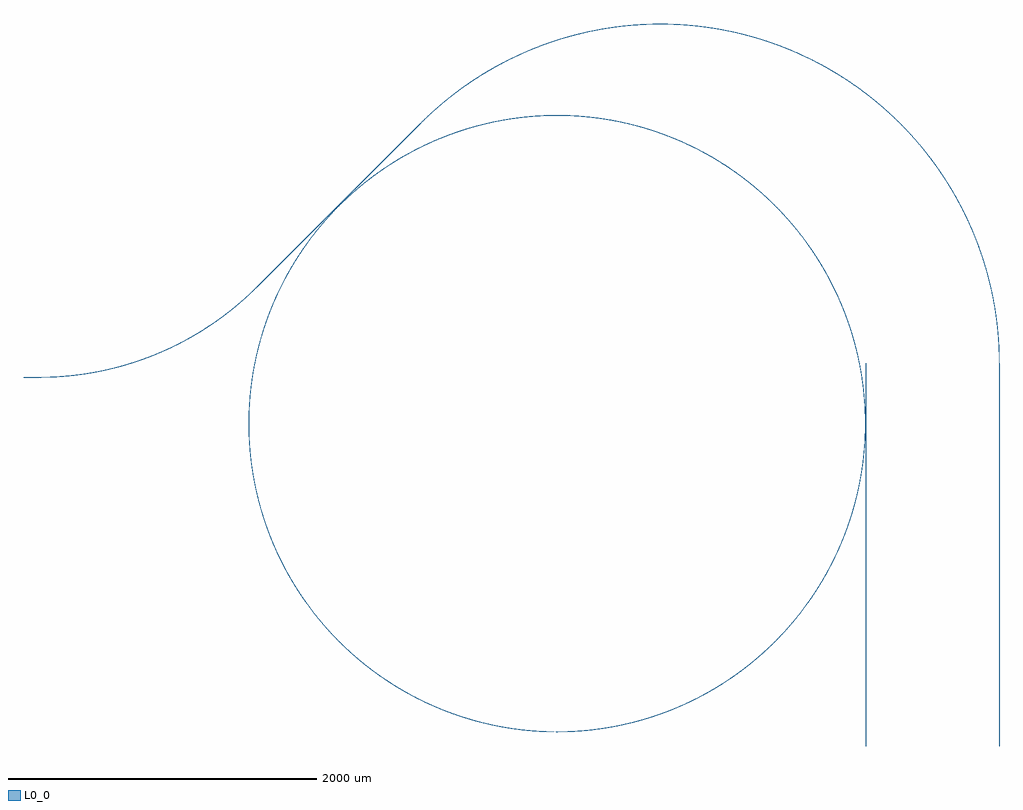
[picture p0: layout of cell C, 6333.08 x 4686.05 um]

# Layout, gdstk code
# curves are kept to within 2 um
import gdstk
lib = gdstk.Library(unit=1e-6, precision=1e-09)
def R(c, l, rs):  # rectangles x0, y0, x1, y1
    for r in rs: c.add(gdstk.rectangle(r[:2], r[2:], *l))
def P(c, l, *ps):  # polygons
    for p in ps: c.add(gdstk.Polygon(p, *l))
L0_0 = (0, 0)

c_c = lib.new_cell('C')
R(c_c, L0_0, [(2003.049,-2092.442,2005.149,392.558), (2868.577,-2092.442,2870.677,392.558), (-3462.4,299.171,-3362.4,301.271)])
P(c_c, L0_0, [(-652.603,2152.196),(-693.145,2120.989),(-735.702,2086.568),(-770.043,2057.481),(-770.043,2054.703),(-739.6,2080.592),(-710.977,2104.082),(-682.722,2126.493),(-652.603,2149.569)],
  [(-770.043,2057.481),(-801.034,2030.17),(-830.602,2003.127),(-860.466,1974.783),(-887.492,1948.192),(-886.012,1946.711),(-857.443,1974.783),(-830.002,2000.815),(-800.347,2027.965),(-770.043,2054.703)],
  [(-417.713,2306.275),(-462.874,2279.901),(-506.357,2253.117),(-535.163,2234.595),(-535.163,2232.085),(-506.646,2250.45),(-477.328,2268.691),(-448.591,2285.96),(-417.713,2303.859)],
  [(-535.163,2234.595),(-579.527,2204.804),(-621.878,2174.87),(-652.603,2152.196),(-652.603,2149.569),(-622.826,2171.587),(-593.581,2192.471),(-564.817,2212.318),(-535.163,2232.085)],
  [(52.057,2505.196),(18.059,2494.959),(-14.829,2484.482),(-49.317,2472.881),(-82.623,2461.071),(-126.314,2444.655),(-172.374,2426.19),(-182.833,2421.827),(-182.833,2419.55),(-132.623,2439.941),(-82.195,2458.992),(-48.363,2470.989),(-15.938,2481.909),(17.657,2492.635),(52.057,2503.008)],
  [(-182.833,2421.827),(-217.574,2406.881),(-251.202,2391.732),(-285.973,2375.347),(-318.259,2359.46),(-360.866,2337.476),(-403.039,2314.539),(-417.713,2306.275),(-417.713,2303.859),(-367.781,2331.415),(-317.234,2357.625),(-284.684,2373.636),(-249.615,2390.151),(-215.682,2405.419),(-182.833,2419.55)],
  [(521.827,2588.71),(486.134,2585.987),(452.908,2582.94),(419.303,2579.347),(383.845,2574.991),(335.475,2568.106),(289.825,2560.6),(286.937,2560.091),(286.937,2557.959),(334.642,2565.852),(382.649,2572.7),(416.607,2576.902),(451.168,2580.628),(486.343,2583.855),(521.827,2586.534)],
  [(286.937,2560.091),(253.666,2553.952),(217.378,2546.65),(185.279,2539.66),(150.866,2531.605),(103.437,2519.542),(56.43,2506.469),(52.057,2505.196),(52.057,2503.008),(100.641,2516.622),(151.734,2529.655),(187.323,2537.967),(220.612,2545.181),(255.076,2552.084),(286.937,2557.959)],
  [(991.597,2569.943),(931.21,2578.027),(874.465,2584.087),(815.369,2588.851),(756.707,2592.019),(756.707,2589.782),(805.039,2587.334),(852.911,2583.855),(888.086,2580.628),(922.647,2576.902),(956.605,2572.7),(991.597,2567.807)],
  [(756.707,2592.019),(744.404,2592.557),(695.27,2593.457),(639.267,2593.396),(639.267,2591.297),(697.394,2591.332),(756.707,2589.782)],
  [(639.267,2593.396),(594.85,2592.557),(545.113,2590.198),(521.827,2588.71),(521.827,2586.534),(579.096,2589.643),(639.267,2591.297)],
  [(2853.784,664.733),(2848.839,701.844),(2842.75,742.07),(2836.05,781.441),(2828.779,819.974),(2818.751,867.832),(2807.119,917.676),(2802.303,936.903),(2800.136,936.903),(2807.355,907.824),(2814.343,877.918),(2821.004,847.482),(2827.322,816.505),(2834.551,777.897),(2840.623,742.07),(2846.19,705.537),(2851.668,664.733)],
  [(2870.677,392.557),(2870.342,430.91),(2869.29,470.68),(2867.664,507.688),(2865.178,548.052),(2861.305,595.459),(2856.086,645.577),(2853.784,664.733),(2851.668,664.733),(2855.268,634.124),(2858.46,603.253),(2863.352,544.051),(2865.771,503.608),(2867.333,466.527),(2868.243,430.91),(2868.577,392.557)],
  [(2802.303,936.903),(2792.053,975.591),(2781.396,1013.085),(2769.342,1052.722),(2756.8,1091.364),(2740.747,1137.596),(2723.016,1185.157),(2713.623,1209.073),(2711.362,1209.073),(2722.887,1179.643),(2734.399,1148.929),(2745.626,1117.547),(2755.567,1088.426),(2768.087,1049.708),(2779.207,1013.085),(2789.875,975.591),(2800.136,936.903)],
  [(2653.855,1345.163),(2631.049,1391.279),(2605.686,1439.6),(2582.573,1481.253),(2580.156,1481.253),(2598.408,1448.581),(2616.661,1414.536),(2634.663,1379.479),(2651.526,1345.163)],
  [(2713.623,1209.073),(2693.598,1257.521),(2672.094,1306.203),(2653.855,1345.163),(2651.526,1345.163),(2667.485,1311.222),(2682.324,1278.239),(2696.874,1244.407),(2711.362,1209.073)],
  [(1389.343,2472.614),(1338.709,2489.45),(1289.846,2504.419),(1240.136,2518.388),(1190.473,2531.098),(1190.473,2528.936),(1240.84,2516.024),(1289.538,2502.321),(1339.492,2486.996),(1389.343,2470.392)],
  [(1190.473,2531.098),(1143.025,2542.101),(1091.955,2552.717),(1043.73,2561.591),(991.597,2569.943),(991.597,2567.807),(1040.043,2560.092),(1090.867,2550.789),(1140.587,2540.486),(1190.473,2528.936)],
  [(1787.083,2288.847),(1738.399,2316.706),(1688.868,2343.396),(1639.459,2368.424),(1588.213,2392.763),(1588.213,2390.452),(1638.289,2366.659),(1689.963,2340.453),(1737.977,2314.539),(1787.083,2286.409)],
  [(1588.213,2392.763),(1540.436,2414.022),(1489.833,2435.077),(1439.075,2454.735),(1389.343,2472.614),(1389.343,2470.392),(1441.853,2451.454),(1490.397,2432.588),(1538.39,2412.616),(1588.213,2390.452)],
  [(2452.602,1683.147),(2429.893,1713.952),(2406.672,1744.333),(2383.423,1773.688),(2360.191,1802.031),(2329.28,1838.301),(2295.928,1875.718),(2287.37,1885.047),(2284.512,1885.047),(2323.918,1841.247),(2360.04,1798.931),(2383.313,1770.477),(2406.595,1741.01),(2428.558,1712.232),(2450.008,1683.147)],
  [(2521.485,1582.197),(2494.137,1623.729),(2465.941,1664.515),(2452.602,1683.147),(2450.008,1683.147),(2467.226,1659.056),(2485.199,1633.153),(2501.83,1608.457),(2518.988,1582.197)],
  [(2582.573,1481.253),(2557.46,1524.241),(2531.026,1567.213),(2521.485,1582.197),(2518.988,1582.197),(2549.991,1532.562),(2580.156,1481.253)],
  [(2037.23,2117.169),(2006.81,2140.86),(1974.719,2164.945),(1943.174,2187.745),(1912.16,2209.35),(1912.16,2206.804),(1944.026,2184.564),(1975.738,2161.584),(2007.991,2137.311),(2037.23,2114.487)],
  [(1912.16,2209.35),(1881.772,2229.764),(1849.821,2250.45),(1818.538,2269.956),(1787.083,2288.847),(1787.083,2286.409),(1818.657,2267.421),(1850.136,2247.761),(1882.278,2226.913),(1912.16,2206.804)],
  [(2287.37,1885.047),(2257.689,1916.591),(2227.333,1947.605),(2194.723,1979.6),(2162.3,2010.131),(2162.3,2007.273),(2194.193,1977.196),(2224.364,1947.605),(2254.778,1916.591),(2284.512,1885.047)],
  [(2162.3,2010.131),(2132.945,2036.735),(2101.364,2064.308),(2070.186,2090.514),(2037.23,2117.169),(2037.23,2114.487),(2069.273,2088.545),(2100.554,2062.237),(2132.235,2034.555),(2162.3,2007.273)],
  [(-3008.477,332.844),(-3052.885,325.378),(-3096.4,319.048),(-3141.035,313.565),(-3185.437,309.119),(-3185.437,306.97),(-3127.902,312.936),(-3074.206,320.018),(-3042.459,324.902),(-3008.477,330.709)],
  [(-3185.437,309.119),(-3230.127,305.651),(-3274.462,303.205),(-3319.85,301.723),(-3362.402,301.271),(-3362.402,299.171),(-3331.365,299.412),(-3291.104,300.22),(-3251.078,302.151),(-3218.613,304.275),(-3185.437,306.97)],
  [(-2654.557,430.791),(-2698.993,414.564),(-2743.444,399.509),(-2787.366,385.763),(-2831.517,373.052),(-2831.517,370.874),(-2803.883,378.692),(-2775.68,387.115),(-2746.088,396.442),(-2719.923,405.113),(-2687.624,416.372),(-2654.557,428.546)],
  [(-2831.517,373.052),(-2874.405,361.747),(-2918.604,351.152),(-2962.256,341.723),(-3008.477,332.844),(-3008.477,330.709),(-2951.894,341.723),(-2922.825,348.043),(-2895.226,354.464),(-2862.076,362.724),(-2831.517,370.874)],
  [(-2300.637,606.568),(-2344.683,579.74),(-2388.292,554.679),(-2433.836,530.03),(-2477.597,507.757),(-2477.597,505.416),(-2449.647,519.466),(-2422.464,533.664),(-2396.361,547.802),(-2369.689,562.772),(-2335.026,583.041),(-2300.637,604.09)],
  [(-2477.597,507.757),(-2522.738,486.172),(-2565.843,466.835),(-2609.836,448.342),(-2654.557,430.791),(-2654.557,428.546),(-2626.664,439.334),(-2598.58,450.684),(-2572.459,461.689),(-2545.521,473.499),(-2511.465,489.112),(-2477.597,505.416)],
  [(-1946.707,886.009),(-1948.191,887.493),(-1984.009,852.52),(-2020.101,818.994),(-2046.843,795.192),(-2071.094,774.335),(-2097.246,752.582),(-2123.677,731.347),(-2123.677,728.673),(-2100.401,747.301),(-2076.577,766.97),(-2054.683,785.6),(-2032.574,804.974),(-2010.26,825.121),(-1987.753,846.073)],
  [(-2123.677,731.347),(-2159.063,704.044),(-2194.341,678.049),(-2220.822,659.306),(-2246.863,641.493),(-2274.409,623.296),(-2300.637,606.568),(-2300.637,604.09),(-2274.434,620.777),(-2247.058,638.832),(-2221.171,656.506),(-2194.841,675.103),(-2159.753,700.895),(-2123.677,728.673)],
  [(-1946.708,886.008),(-886.008,1946.708),(-887.492,1948.192),(-1948.192,887.492)],
  [(-2001.049,0),(-2000.512,-46.375),(-1998.949,-91.674),(-1996.177,-139.564),(-1992.363,-186.252),(-1986.766,-238.669),(-1979.496,-292.911),(-1971,-345.484),(-1968.868,-345.484),(-1975.357,-306.209),(-1981.172,-266.002),(-1986.265,-224.841),(-1990.254,-186.252),(-1994.072,-139.564),(-1996.847,-91.674),(-1998.412,-46.375),(-1998.95,0)],
  [(-1971,-345.484),(-1963.89,-383.847),(-1955.526,-424.405),(-1946.524,-463.945),(-1936.931,-502.493),(-1923.567,-551.445),(-1909.357,-598.797),(-1898.862,-631.288),(-1896.649,-631.288),(-1907.156,-598.797),(-1916.453,-568.338),(-1926.206,-534.353),(-1934.762,-502.493),(-1944.365,-463.945),(-1953.377,-424.405),(-1961.75,-383.847),(-1968.868,-345.484)],
  [(-1898.862,-631.288),(-1887.096,-665.636),(-1874.948,-699.122),(-1862.449,-731.768),(-1848.63,-766.009),(-1830.366,-808.679),(-1810.551,-852.119),(-1803.125,-867.721),(-1800.795,-867.721),(-1823.937,-817.959),(-1846.356,-766.009),(-1860.193,-731.768),(-1872.707,-699.122),(-1884.869,-665.636),(-1896.649,-631.288)],
  [(-1803.125,-867.721),(-1788.092,-898.292),(-1773.933,-925.94),(-1758.492,-954.939),(-1742.874,-983.155),(-1720.296,-1022.147),(-1696.308,-1061.48),(-1695.16,-1063.313),(-1692.68,-1063.313),(-1716.715,-1024.057),(-1740.462,-983.155),(-1756.102,-954.939),(-1771.563,-925.94),(-1786.824,-896.136),(-1800.795,-867.721)],
  [(-1695.16,-1063.313),(-1674.407,-1095.703),(-1654.685,-1125.263),(-1632.539,-1157.16),(-1611.473,-1186.32),(-1583.312,-1223.652),(-1552.785,-1262.165),(-1541.052,-1276.464),(-1538.324,-1276.464),(-1557.133,-1253.451),(-1575.952,-1229.706),(-1594.767,-1205.205),(-1611.213,-1183.129),(-1632.303,-1153.858),(-1653.31,-1123.552),(-1673.055,-1093.933),(-1692.68,-1063.313)],
  [(-1541.052,-1276.464),(-1512.941,-1309.66),(-1484.933,-1341.334),(-1454.751,-1374.009),(-1424.781,-1405.063),(-1388.24,-1441.177),(-1352.142,-1475.099),(-1318.747,-1505.028),(-1315.559,-1505.028),(-1344.543,-1479.191),(-1371.59,-1454.147),(-1398.895,-1427.899),(-1424.132,-1402.73),(-1454.181,-1371.554),(-1482.102,-1341.334),(-1510.163,-1309.66),(-1538.324,-1276.464)],
  [(-1318.747,-1505.028),(-1292.37,-1527.737),(-1264.155,-1551.165),(-1236.332,-1573.431),(-1206.825,-1596.176),(-1169.605,-1623.646),(-1131.222,-1650.618),(-1115.344,-1661.388),(-1111.572,-1661.388),(-1157.824,-1629.493),(-1203.339,-1596.176),(-1232.93,-1573.431),(-1260.829,-1551.165),(-1289.116,-1527.737),(-1315.559,-1505.028)],
  [(-1115.344,-1661.388),(-1086.032,-1680.695),(-1057.325,-1698.902),(-1027.376,-1717.179),(-998.121,-1734.347),(-957.279,-1757.22),(-916.115,-1779.027),(-912.755,-1780.754),(-908.142,-1780.754),(-952.882,-1757.22),(-997.538,-1732.259),(-1027,-1714.956),(-1055.248,-1697.721),(-1084.101,-1679.443),(-1111.572,-1661.388)],
  [(-912.755,-1780.754),(-876.499,-1798.876),(-838.408,-1816.942),(-798.831,-1834.687),(-760.969,-1850.712),(-713.969,-1869.347),(-667.19,-1886.549),(-635.238,-1897.547),(-628.592,-1897.547),(-660.865,-1886.549),(-694.652,-1874.371),(-727.231,-1861.973),(-758.303,-1849.536),(-796.559,-1833.385),(-833.383,-1816.942),(-871.694,-1798.876),(-908.142,-1780.754)],
  [(-635.238,-1897.547),(-597.936,-1909.63),(-562.77,-1920.288),(-525.637,-1930.783),(-489.021,-1940.381),(-442.934,-1951.418),(-395.22,-1961.64),(-383.416,-1963.981),(-372.3,-1963.981),(-400.146,-1958.497),(-429.916,-1952.177),(-458.098,-1945.756),(-487.997,-1938.473),(-521.649,-1929.689),(-557.423,-1919.66),(-593.165,-1908.918),(-628.592,-1897.547)],
  [(383.416,-1963.981),(347.531,-1970.65),(308.189,-1977.187),(269.624,-1982.818),(231.113,-1987.681),(184.238,-1992.588),(138.625,-1996.317),(104.004,-1996.317),(135.083,-1994.43),(168.764,-1991.847),(201.425,-1988.8),(231.129,-1985.562),(266.535,-1981.115),(301.564,-1976.083),(337.954,-1970.184),(372.3,-1963.981)],
  [(635.238,-1897.547),(597.936,-1909.63),(562.77,-1920.288),(525.637,-1930.783),(489.021,-1940.381),(442.934,-1951.418),(395.22,-1961.64),(383.416,-1963.981),(372.3,-1963.981),(400.146,-1958.497),(429.916,-1952.177),(458.098,-1945.756),(487.997,-1938.473),(521.649,-1929.689),(557.423,-1919.66),(593.165,-1908.918),(628.592,-1897.547)],
  [(912.755,-1780.754),(876.499,-1798.876),(838.408,-1816.942),(798.831,-1834.687),(760.969,-1850.712),(713.969,-1869.347),(667.19,-1886.549),(635.238,-1897.547),(628.592,-1897.547),(660.865,-1886.549),(694.652,-1874.371),(727.231,-1861.973),(758.303,-1849.536),(796.559,-1833.385),(833.383,-1816.942),(871.694,-1798.876),(908.142,-1780.754)],
  [(1115.344,-1661.388),(1086.032,-1680.695),(1057.325,-1698.902),(1027.376,-1717.179),(998.121,-1734.347),(957.279,-1757.22),(916.115,-1779.027),(912.755,-1780.754),(908.142,-1780.754),(952.882,-1757.22),(997.538,-1732.259),(1027,-1714.956),(1055.248,-1697.721),(1084.101,-1679.443),(1111.572,-1661.388)],
  [(1318.747,-1505.028),(1292.37,-1527.737),(1264.155,-1551.165),(1236.332,-1573.431),(1206.825,-1596.176),(1169.605,-1623.646),(1131.222,-1650.618),(1115.344,-1661.388),(1111.572,-1661.388),(1157.824,-1629.493),(1203.339,-1596.176),(1232.93,-1573.431),(1260.829,-1551.165),(1289.116,-1527.737),(1315.559,-1505.028)],
  [(1541.052,-1276.464),(1512.941,-1309.66),(1484.933,-1341.334),(1454.751,-1374.009),(1424.781,-1405.063),(1388.24,-1441.177),(1352.142,-1475.099),(1318.747,-1505.028),(1315.559,-1505.028),(1344.543,-1479.191),(1371.59,-1454.147),(1398.895,-1427.899),(1424.132,-1402.73),(1454.181,-1371.554),(1482.102,-1341.334),(1510.163,-1309.66),(1538.324,-1276.464)],
  [(1695.16,-1063.313),(1674.407,-1095.703),(1654.685,-1125.263),(1632.539,-1157.16),(1611.473,-1186.32),(1583.312,-1223.652),(1552.785,-1262.165),(1541.052,-1276.464),(1538.324,-1276.464),(1557.133,-1253.451),(1575.952,-1229.706),(1594.767,-1205.205),(1611.213,-1183.129),(1632.303,-1153.858),(1653.31,-1123.552),(1673.055,-1093.933),(1692.68,-1063.313)],
  [(1803.125,-867.721),(1788.092,-898.292),(1773.933,-925.94),(1758.492,-954.939),(1742.874,-983.155),(1720.296,-1022.147),(1696.308,-1061.48),(1695.16,-1063.313),(1692.68,-1063.313),(1716.715,-1024.057),(1740.462,-983.155),(1756.102,-954.939),(1771.563,-925.94),(1786.824,-896.136),(1800.795,-867.721)],
  [(-18.966,2000.958),(-71.298,2000),(-129.198,1996.966),(-165.403,1994.25),(-201.196,1990.94),(-201.196,1988.798),(-154.056,1993.005),(-110.237,1995.908),(-65.379,1997.881),(-18.966,1998.859)],
  [(-201.196,1990.94),(-248.638,1985.562),(-292.513,1979.568),(-337.216,1972.442),(-383.416,1963.981),(-372.3,1963.981),(-329.231,1971.651),(-286.223,1978.352),(-242.109,1984.234),(-201.196,1988.798)],
  [(345.484,1971),(299.573,1978.499),(255.802,1984.633),(210.904,1989.905),(163.254,1994.379),(163.254,1992.272),(210.904,1987.793),(255.802,1982.515),(299.573,1976.375),(345.484,1968.868)],
  [(163.254,1994.379),(118.467,1997.656),(71.298,2000),(23.323,2000.913),(-18.966,2000.958),(-18.966,1998.859),(27.184,1998.765),(72.928,1997.619),(117.612,1995.487),(163.254,1992.272)],
  [(-18.966,-1998.859),(-65.379,-1997.881),(-110.237,-1995.908),(-154.056,-1993.005),(-201.196,-1988.798),(-201.196,-1990.94),(-156.998,-1994.936),(-111.324,-1998.069),(-71.298,-2000),(-19.455,-2000.954),(-18.966,-2000.958)],
  [(-201.196,-1988.798),(-242.109,-1984.234),(-286.223,-1978.352),(-329.231,-1971.651),(-372.3,-1963.981),(-383.416,-1963.981),(-355.486,-1969.23),(-327.227,-1974.124),(-299.122,-1978.58),(-269.624,-1982.818),(-234.5,-1987.284),(-201.196,-1990.94)],
  [(345.484,-1968.868),(299.573,-1976.375),(255.802,-1982.515),(210.904,-1987.793),(163.254,-1992.272),(163.254,-1994.379),(193.33,-1991.689),(221.367,-1988.768),(276.142,-1981.905),(312.819,-1976.448),(345.484,-1971)],
  [(163.254,-1992.272),(117.612,-1995.487),(72.928,-1997.619),(27.184,-1998.765),(-18.966,-1998.859),(-18.966,-2000.958),(34.883,-2000.745),(71.298,-2000),(94.972,-1998.92),(129.198,-1996.966),(163.254,-1994.379)],
  [(2001.049,0),(2000.512,46.375),(1998.949,91.674),(1996.177,139.564),(1992.363,186.252),(1986.766,238.669),(1979.496,292.911),(1971,345.484),(1968.868,345.484),(1975.357,306.209),(1981.172,266.002),(1986.265,224.841),(1990.254,186.252),(1994.072,139.564),(1996.847,91.674),(1998.412,46.375),(1998.95,0)],
  [(1971,345.484),(1963.89,383.847),(1955.526,424.405),(1946.524,463.945),(1936.931,502.493),(1923.567,551.445),(1909.357,598.797),(1898.862,631.288),(1896.649,631.288),(1907.156,598.797),(1916.453,568.338),(1926.206,534.353),(1934.762,502.493),(1944.365,463.945),(1953.377,424.405),(1961.75,383.847),(1968.868,345.484)],
  [(1898.862,631.288),(1887.096,665.636),(1874.948,699.122),(1862.449,731.768),(1848.63,766.009),(1830.366,808.679),(1810.551,852.119),(1803.125,867.721),(1800.795,867.721),(1823.937,817.959),(1846.356,766.009),(1860.193,731.768),(1872.707,699.122),(1884.869,665.636),(1896.649,631.288)],
  [(1803.125,867.721),(1788.092,898.292),(1773.933,925.94),(1758.492,954.939),(1742.874,983.155),(1720.296,1022.147),(1696.308,1061.48),(1695.16,1063.313),(1692.68,1063.313),(1716.715,1024.057),(1740.462,983.155),(1756.102,954.939),(1771.563,925.94),(1786.824,896.136),(1800.795,867.721)],
  [(1695.16,1063.313),(1674.407,1095.703),(1654.685,1125.263),(1632.539,1157.16),(1611.473,1186.32),(1583.312,1223.652),(1552.785,1262.165),(1541.052,1276.464),(1538.324,1276.464),(1557.133,1253.451),(1575.952,1229.706),(1594.767,1205.205),(1611.213,1183.129),(1632.303,1153.858),(1653.31,1123.552),(1673.055,1093.933),(1692.68,1063.313)],
  [(1541.052,1276.464),(1512.941,1309.66),(1484.933,1341.334),(1454.751,1374.009),(1424.781,1405.063),(1388.24,1441.177),(1352.142,1475.099),(1318.747,1505.028),(1315.559,1505.028),(1344.543,1479.191),(1371.59,1454.147),(1398.895,1427.899),(1424.132,1402.73),(1454.181,1371.554),(1482.102,1341.334),(1510.163,1309.66),(1538.324,1276.464)],
  [(1318.747,1505.028),(1292.37,1527.737),(1264.155,1551.165),(1236.332,1573.431),(1206.825,1596.176),(1169.605,1623.646),(1131.222,1650.618),(1115.344,1661.388),(1111.572,1661.388),(1157.824,1629.493),(1203.339,1596.176),(1232.93,1573.431),(1260.829,1551.165),(1289.116,1527.737),(1315.559,1505.028)],
  [(1115.344,1661.388),(1086.032,1680.695),(1057.325,1698.902),(1027.376,1717.179),(998.121,1734.347),(957.279,1757.22),(916.115,1779.027),(912.755,1780.754),(908.142,1780.754),(952.882,1757.22),(997.538,1732.259),(1027,1714.956),(1055.248,1697.721),(1084.101,1679.443),(1111.572,1661.388)],
  [(912.755,1780.754),(876.499,1798.876),(838.408,1816.942),(798.831,1834.687),(760.969,1850.712),(713.969,1869.347),(667.19,1886.549),(635.238,1897.547),(628.592,1897.547),(660.865,1886.549),(694.652,1874.371),(727.231,1861.973),(758.303,1849.536),(796.559,1833.385),(833.383,1816.942),(871.694,1798.876),(908.142,1780.754)],
  [(635.238,1897.547),(597.936,1909.63),(562.77,1920.288),(525.637,1930.783),(489.021,1940.381),(442.934,1951.418),(395.22,1961.64),(383.416,1963.981),(372.3,1963.981),(400.146,1958.497),(429.916,1952.177),(458.098,1945.756),(487.997,1938.473),(521.649,1929.689),(557.423,1919.66),(593.165,1908.918),(628.592,1897.547)],
  [(383.416,1963.981),(347.531,1970.65),(308.189,1977.187),(269.624,1982.818),(231.113,1987.681),(184.238,1992.588),(138.625,1996.317),(104.004,1996.317),(135.083,1994.43),(168.764,1991.847),(201.425,1988.8),(231.129,1985.562),(266.535,1981.115),(301.564,1976.083),(337.954,1970.184),(372.3,1963.981)],
  [(2001.049,0),(2000.512,-46.375),(1998.949,-91.674),(1996.177,-139.564),(1992.363,-186.252),(1986.766,-238.669),(1979.496,-292.911),(1971,-345.484),(1968.868,-345.484),(1975.357,-306.209),(1981.172,-266.002),(1986.265,-224.841),(1990.254,-186.252),(1994.072,-139.564),(1996.847,-91.674),(1998.412,-46.375),(1998.95,0)],
  [(1971,-345.484),(1963.89,-383.847),(1955.526,-424.405),(1946.524,-463.945),(1936.931,-502.493),(1923.567,-551.445),(1909.357,-598.797),(1898.862,-631.288),(1896.649,-631.288),(1907.156,-598.797),(1916.453,-568.338),(1926.206,-534.353),(1934.762,-502.493),(1944.365,-463.945),(1953.377,-424.405),(1961.75,-383.847),(1968.868,-345.484)],
  [(1898.862,-631.288),(1887.096,-665.636),(1874.948,-699.122),(1862.449,-731.768),(1848.63,-766.009),(1830.366,-808.679),(1810.551,-852.119),(1803.125,-867.721),(1800.795,-867.721),(1823.937,-817.959),(1846.356,-766.009),(1860.193,-731.768),(1872.707,-699.122),(1884.869,-665.636),(1896.649,-631.288)],
  [(-635.238,1897.547),(-597.936,1909.63),(-562.77,1920.288),(-525.637,1930.783),(-489.021,1940.381),(-442.934,1951.418),(-395.22,1961.64),(-383.416,1963.981),(-372.3,1963.981),(-400.146,1958.497),(-429.916,1952.177),(-458.098,1945.756),(-487.997,1938.473),(-521.649,1929.689),(-557.423,1919.66),(-593.165,1908.918),(-628.592,1897.547)],
  [(-912.755,1780.754),(-876.499,1798.876),(-838.408,1816.942),(-798.831,1834.687),(-760.969,1850.712),(-713.969,1869.347),(-667.19,1886.549),(-635.238,1897.547),(-628.592,1897.547),(-660.865,1886.549),(-694.652,1874.371),(-727.231,1861.973),(-758.303,1849.536),(-796.559,1833.385),(-833.383,1816.942),(-871.694,1798.876),(-908.142,1780.754)],
  [(-1115.344,1661.388),(-1086.032,1680.695),(-1057.325,1698.902),(-1027.376,1717.179),(-998.121,1734.347),(-957.279,1757.22),(-916.115,1779.027),(-912.755,1780.754),(-908.142,1780.754),(-952.882,1757.22),(-997.538,1732.259),(-1027,1714.956),(-1055.248,1697.721),(-1084.101,1679.443),(-1111.572,1661.388)],
  [(-1318.747,1505.028),(-1292.37,1527.737),(-1264.155,1551.165),(-1236.332,1573.431),(-1206.825,1596.176),(-1169.605,1623.646),(-1131.222,1650.618),(-1115.344,1661.388),(-1111.572,1661.388),(-1157.824,1629.493),(-1203.339,1596.176),(-1232.93,1573.431),(-1260.829,1551.165),(-1289.116,1527.737),(-1315.559,1505.028)],
  [(-1541.052,1276.464),(-1512.941,1309.66),(-1484.933,1341.334),(-1454.751,1374.009),(-1424.781,1405.063),(-1388.24,1441.177),(-1352.142,1475.099),(-1318.747,1505.028),(-1315.559,1505.028),(-1344.543,1479.191),(-1371.59,1454.147),(-1398.895,1427.899),(-1424.132,1402.73),(-1454.181,1371.554),(-1482.102,1341.334),(-1510.163,1309.66),(-1538.324,1276.464)],
  [(-1695.16,1063.313),(-1674.407,1095.703),(-1654.685,1125.263),(-1632.539,1157.16),(-1611.473,1186.32),(-1583.312,1223.652),(-1552.785,1262.165),(-1541.052,1276.464),(-1538.324,1276.464),(-1557.133,1253.451),(-1575.952,1229.706),(-1594.767,1205.205),(-1611.213,1183.129),(-1632.303,1153.858),(-1653.31,1123.552),(-1673.055,1093.933),(-1692.68,1063.313)],
  [(-1803.125,867.721),(-1788.092,898.292),(-1773.933,925.94),(-1758.492,954.939),(-1742.874,983.155),(-1720.296,1022.147),(-1696.308,1061.48),(-1695.16,1063.313),(-1692.68,1063.313),(-1716.715,1024.057),(-1740.462,983.155),(-1756.102,954.939),(-1771.563,925.94),(-1786.824,896.136),(-1800.795,867.721)],
  [(-1898.862,631.288),(-1887.096,665.636),(-1874.948,699.122),(-1862.449,731.768),(-1848.63,766.009),(-1830.366,808.679),(-1810.551,852.119),(-1803.125,867.721),(-1800.795,867.721),(-1823.937,817.959),(-1846.356,766.009),(-1860.193,731.768),(-1872.707,699.122),(-1884.869,665.636),(-1896.649,631.288)],
  [(-1971,345.484),(-1963.89,383.847),(-1955.526,424.405),(-1946.524,463.945),(-1936.931,502.493),(-1923.567,551.445),(-1909.357,598.797),(-1898.862,631.288),(-1896.649,631.288),(-1907.156,598.797),(-1916.453,568.338),(-1926.206,534.353),(-1934.762,502.493),(-1944.365,463.945),(-1953.377,424.405),(-1961.75,383.847),(-1968.868,345.484)],
  [(-2001.049,0),(-2000.512,46.375),(-1998.949,91.674),(-1996.177,139.564),(-1992.363,186.252),(-1986.766,238.669),(-1979.496,292.911),(-1971,345.484),(-1968.868,345.484),(-1975.357,306.209),(-1981.172,266.002),(-1986.265,224.841),(-1990.254,186.252),(-1994.072,139.564),(-1996.847,91.674),(-1998.412,46.375),(-1998.95,0)])

lib.write_gds('C.gds')
